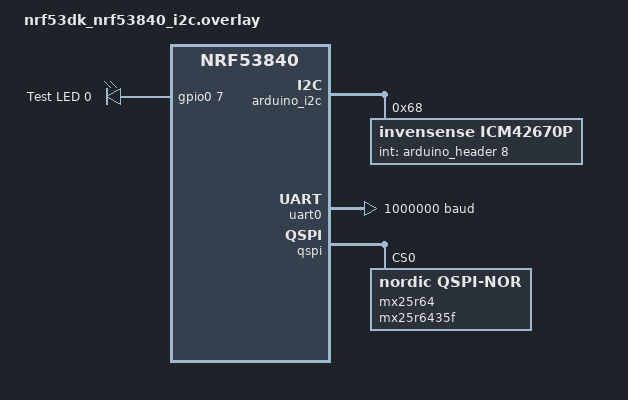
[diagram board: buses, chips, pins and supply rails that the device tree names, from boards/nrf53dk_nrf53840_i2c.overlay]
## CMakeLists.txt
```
#
# Copyright (c) 2024 TDK Invensense
#
# SPDX-License-Identifier: Apache-2.0
#

cmake_minimum_required(VERSION 3.20.0)

find_package(Zephyr REQUIRED HINTS $ENV{ZEPHYR_BASE})
project(6dof_motion_drdy)

FILE(GLOB app_sources src/*.c)
target_sources(app PRIVATE ${app_sources} gaf/release/lib/libInvnAlgoGAFOpen.a.obj)

set(gaf_src_dir   ${CMAKE_CURRENT_SOURCE_DIR}/gaf)
set(GAF_LIB_DIR     ${gaf_src_dir}/release/lib)
set(GAF_INCLUDE_DIR ${gaf_src_dir}/include)

target_include_directories(app PUBLIC ${GAF_INCLUDE_DIR})

# Relocate library code
zephyr_code_relocate(FILES src/invn_algo.c LOCATION EXTFLASH_TEXT NOCOPY)
zephyr_code_relocate(FILES src/invn_algo.c LOCATION RAM_DATA)

zephyr_code_relocate(FILES gaf/release/lib/libInvnAlgoGAFOpen.a.obj LOCATION EXTFLASH_TEXT NOCOPY)
zephyr_code_relocate(FILES gaf/release/lib/libInvnAlgoGAFOpen.a.obj LOCATION RAM_DATA)
```

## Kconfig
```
# Copyright (c) 2024, TDK Invensense
# SPDX-License-Identifier: Apache-2.0

# Sensor: ICM42670-P TDK 6-axis motion device
choice ICM_VARIANT
	default ICM42670P
endchoice

# Enable trigger to get sensor data
config ICM42X7X_TRIGGER
	default y

choice ICM42X7X_TRIGGER_MODE
	default ICM42X7X_TRIGGER_OWN_THREAD
endchoice

source "Kconfig.zephyr"
```

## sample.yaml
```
sample:
  name: 6DOF Motion dataready sample
tests:
  sample.sensor.6dof_motion_drdy:
    build_only: true
    tags: sensors
    integration_platforms:
      - nrf52dk/nrf52832
```

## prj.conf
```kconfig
#
# Copyright (c) 2024 TDK Invensense
#
# SPDX-License-Identifier: Apache-2.0
#

CONFIG_SENSOR=y
CONFIG_LOG=y
CONFIG_SENSOR_LOG_LEVEL_DBG=n

# Floating point format support
# Selecting this increases stack size requirements slightly, but increases code size significantly.
CONFIG_CBPRINTF_FP_SUPPORT=y

# nrf52dk/nrf52832 specific
CONFIG_USE_SEGGER_RTT=n

# Trigger mode: sample is using interrupt triggering
CONFIG_ICM42X70_TRIGGER_OWN_THREAD=y

CONFIG_FPU=y
CONFIG_FP_HARDABI=y
CONFIG_ICM42X70_THREAD_STACK_SIZE=8192
CONFIG_MAIN_STACK_SIZE=8192

CONFIG_CODE_DATA_RELOCATION=y
#CONFIG_XIP=y
# Need this when storage is on MX25R64
CONFIG_FLASH=y
CONFIG_NORDIC_QSPI_NOR=y
CONFIG_NORDIC_QSPI_NOR_FLASH_LAYOUT_PAGE_SIZE=4096
CONFIG_HAVE_CUSTOM_LINKER_SCRIPT=y
CONFIG_CUSTOM_LINKER_SCRIPT="app.ld"

CONFIG_NORDIC_QSPI_NOR_XIP=y


#CONFIG_NRF_ENABLE_CACHE=y
CONFIG_GPIO=y
```

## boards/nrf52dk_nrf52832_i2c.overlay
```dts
/*
 * Copyright (c) 2024, TDK Invensense
 *
 * SPDX-License-Identifier: Apache-2.0
 */

/*
 * Get a node identifier for 6-axis IMU sensor.
 */
/ {
	aliases {
		6dof-motion-drdy0 = &icm42670;
	};
};

/*
 * Example configuration of a ICM42670 device on i2c0 compatible with an Arduino I2C bus.
 *
 * Device address 0x68 is assumed. Your device may have a different
 * address; check your device documentation if unsure.
 *
 * Configure 100Hz IMU data reporting
 */
&arduino_i2c {
	status = "okay";
	icm42670: icm42670@68 {
		compatible = "invensense,icm42670";
		reg = <0x68>;
		int-gpios = <&arduino_header 8 GPIO_ACTIVE_HIGH>; /* D2 */
		accel-hz = <100>;
		gyro-hz = <100>;
		accel-fs = <16>;
		gyro-fs = <2000>;
	};
};

/*
 * Increase native UART speed to report all IMU data at 100Hz.
 */
&uart0 {
	compatible = "nordic,nrf-uarte";
	status = "okay";
	current-speed = <1000000>;
};
```

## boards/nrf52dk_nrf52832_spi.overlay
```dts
/*
 * Copyright (c) 2024, TDK Invensense
 *
 * SPDX-License-Identifier: Apache-2.0
 */

/*
 * Get a node identifier for 6-axis IMU sensor.
 */
/ {
	aliases {
		6dof-motion-drdy0 = &icm42670p;
	};
};

/* Example configuration of a ICM42670-P device on spi2 compatible with an Arduino SPI bus.
 *
 * Configure 100Hz IMU data reporting
 */
&arduino_spi {
	status = "okay";
	cs-gpios = <&arduino_header 14 GPIO_ACTIVE_LOW>; /* D8 */
	icm42670p: icm42670p@0 {
		compatible = "invensense,icm42670p";
		reg = <0>;
		spi-max-frequency = <1000000>; /* conservatively set to 1MHz */
		int-gpios = <&arduino_header 8 GPIO_ACTIVE_HIGH>; /* D2 */
		accel-hz = <100>;
		gyro-hz = <100>;
		accel-fs = <16>;
		gyro-fs = <2000>;
	};
};

/*
 * Disable spi1 has it is connected to the same node than arduino_spi on Arduino Shield
 */
&spi1 {
	status = "disabled";
};

/*
 * Increase native UART speed to report all IMU data at 100Hz.
 */
&uart0 {
	compatible = "nordic,nrf-uarte";
	current-speed = <1000000>;
};
```

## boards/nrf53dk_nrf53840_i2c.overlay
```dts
/*
 * Copyright (c) 2024, TDK Invensense
 *
 * SPDX-License-Identifier: Apache-2.0
 */

/*
 * Get a node identifier for 6-axis IMU sensor.
 */
/ {
	aliases {
		6dof-motion-drdy0 = &icm42670p;
	};
};

/*
 * Example configuration of a ICM42670-P device on i2c0 compatible with an Arduino I2C bus.
 *
 * Device address 0x68 is assumed. Your device may have a different
 * address; check your device documentation if unsure.
 *
 * Configure 100Hz IMU data reporting
 */
&arduino_i2c {
	status = "okay";

	icm42670p: icm42670p@68 {
		compatible = "invensense,icm42670p";
		reg = <0x68>;
		int-gpios = <&arduino_header 8 GPIO_ACTIVE_HIGH>; /* D2 */
		accel-hz = <100>;
		gyro-hz = <100>;
		accel-fs = <16>;
		gyro-fs = <2000>;
	};
};

/*
 * Increase native UART speed to report all IMU data at 100Hz.
 */
&uart0 {
	compatible = "nordic,nrf-uarte";
	current-speed = <1000000>;
};

/ {
	aliases {
		testled0 = &testled0;
	};

	leds {
		compatible = "gpio-leds";

		testled0: testled_0 {
			gpios = <&gpio0 7 GPIO_ACTIVE_HIGH>;
			label = "Test LED 0";
		};
	};
};

&qspi {
	status = "okay";
	pinctrl-0 = <&qspi_default>;
	pinctrl-1 = <&qspi_sleep>;
	pinctrl-names = "default", "sleep";

	mx25r64: mx25r6435f@0 {
		compatible = "nordic,qspi-nor";
		reg = <0>;
		/* MX25R64 supports only pp and pp4io */
		writeoc = "pp4io";
		/* MX25R64 supports all readoc options */
		readoc = "read4io";
		sck-frequency = <16000000>;
		jedec-id = [c2 28 17];
		sfdp-bfp = [e5 20 f1 ff ff ff ff 03 44 eb 08 6b 08 3b 04 bb
			    ee ff ff ff ff ff 00 ff ff ff 00 ff 0c 20 0f 52
			    10 d8 00 ff 23 72 f5 00 82 ed 04 cc 44 83 68 44
			    30 b0 30 b0 f7 c4 d5 5c 00 be 29 ff f0 d0 ff ff];
		size = <67108864>;
		has-dpd;
		t-enter-dpd = <10000>;
		t-exit-dpd = <35000>;
	};
};
```

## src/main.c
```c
/*
 * Copyright (c) 2024 TDK Invensense
 *
 * SPDX-License-Identifier: Apache-2.0
 */

#include <zephyr/kernel.h>
#include <zephyr/device.h>
#include <zephyr/devicetree.h>
#include <zephyr/drivers/sensor.h>
#include <zephyr/drivers/gpio.h>

#include <stdio.h>

#include "invn_algo.h"

static struct sensor_trigger data_trigger;

uint64_t sample_time=0;

/* Flag set from IMU device irq handler */
static volatile int irq_from_device;

static const struct gpio_dt_spec arduino_header_D0 =
	GPIO_DT_SPEC_GET(DT_ALIAS(testled0), gpios);


/*
 * Get a device structure from a devicetree node from alias
 * "6dof_motion_drdy0".
 */
static const struct device *get_6dof_motion_device(void)
{
	const struct device *const dev = DEVICE_DT_GET(DT_ALIAS(6dof_motion_drdy0));

	if (!device_is_ready(dev)) {
		printk("\nError: Device \"%s\" is not ready; "
		       "check the driver initialization logs for errors.\n",
		       dev->name);
		return NULL;
	}

	printk("Found device \"%s\", getting sensor data\n", dev->name);
	return dev;
}

static const char *now_str(void)
{
	static char buf[16]; /* ...HH:MM:SS.MMM */
	uint32_t now = k_uptime_get_32();
	unsigned int ms = now % MSEC_PER_SEC;
	unsigned int s;
	unsigned int min;
	unsigned int h;

	now /= MSEC_PER_SEC;
	s = now % 60U;
	now /= 60U;
	min = now % 60U;
	now /= 60U;
	h = now;

	snprintf(buf, sizeof(buf), "%u:%02u:%02u.%03u", h, min, s, ms);
	return buf;
}

static void handle_6dof_motion_drdy(const struct device *dev, const struct sensor_trigger *trig)
{
	if (trig->type == SENSOR_TRIG_DATA_READY) {
		int rc = sensor_sample_fetch_chan(dev, trig->chan);

		if (rc < 0) {
			printf("sample fetch failed: %d\n", rc);
			printf("cancelling trigger due to failure: %d\n", rc);
			(void)sensor_trigger_set(dev, trig, NULL);
			return;
		} else if (rc == 0) {
			irq_from_device = 1;
			sample_time = (k_uptime_ticks()*1000000)/CONFIG_SYS_CLOCK_TICKS_PER_SEC;			
		}
	}
}

int main(void)
{
	const struct device *dev = get_6dof_motion_device();
	struct sensor_value accel[3];
	struct sensor_value gyro[3];
	struct sensor_value temperature;
	
    int16_t acc_raw[3];
    int16_t gyr_raw[3];
    int16_t mag_raw[3];
    uint8_t accurracy[3];
    float quat[4];
	
	int err;

	err = gpio_pin_configure_dt(&arduino_header_D0, GPIO_OUTPUT_INACTIVE);
	//gpio_pin_configure()
	if (err != 0) {
		printf("Configuring GPIO pin failed: %d\n", err);
		return 0;
	}
	
	err = gpio_pin_set_dt(&arduino_header_D0, 0);
	if (err != 0) {
		printf("Setting GPIO pin level failed: %d\n", err);
	}

	struct sensor_value sample_rate;
	if (dev == NULL) {
		return 0;
	}

	data_trigger = (struct sensor_trigger){
		.type = SENSOR_TRIG_DATA_READY,
		.chan = SENSOR_CHAN_ALL,
	};
	if (sensor_trigger_set(dev, &data_trigger, handle_6dof_motion_drdy) < 0) {
		printf("Cannot configure data trigger!!!\n");
		return 0;
	}
	sample_rate.val1 = 25;
    sensor_attr_set(dev, SENSOR_CHAN_ACCEL_XYZ, SENSOR_ATTR_SAMPLING_FREQUENCY, &sample_rate);
    sensor_attr_set(dev, SENSOR_CHAN_GYRO_XYZ, SENSOR_ATTR_SAMPLING_FREQUENCY, &sample_rate);
	invn_algo_init(10);

	k_sleep(K_MSEC(1000));

	while (1) {

		if (irq_from_device) {
			sensor_channel_get(dev, SENSOR_CHAN_ACCEL_XYZ, accel);
			sensor_channel_get(dev, SENSOR_CHAN_GYRO_XYZ, gyro);
			sensor_channel_get(dev, SENSOR_CHAN_DIE_TEMP, &temperature);

			irq_from_device = 0;
            acc_raw[0] = -(int16_t) ((sensor_value_to_double(&accel[0])*32768/8)/9.80665);
            acc_raw[1] = -(int16_t) ((sensor_value_to_double(&accel[2])*32768/8)/9.80665);
            acc_raw[2] = -(int16_t) ((sensor_value_to_double(&accel[1])*32768/8)/9.80665);
            gyr_raw[0] = -(int16_t) ((sensor_value_to_double(&gyro[0])*32768*180/2000)/3.14159);
            gyr_raw[1] = -(int16_t) ((sensor_value_to_double(&gyro[2])*32768*180/2000)/3.14159);
            gyr_raw[2] = -(int16_t) ((sensor_value_to_double(&gyro[1])*32768*180/2000)/3.14159);
            mag_raw[0] = (int16_t) 0;//(mag_temp_data.x*32768/2000);
            mag_raw[1] = -(int16_t) 0;//(mag_temp_data.z*32768/2000);
            mag_raw[2] = (int16_t) 0;//(mag_temp_data.y*32768/2000);
            gpio_pin_set_dt(&arduino_header_D0, 1);
            invn_algo_process((int64_t) sample_time, acc_raw, gyr_raw, mag_raw, quat, accurracy);
            gpio_pin_set_dt(&arduino_header_D0, 0);
			printf("%lld: temp %.2f Cel "
			       "  accel %f %f %f m/s/s "
			       "  gyro  %f %f %f rad/s\n"
			       "  quat  %f %f %f %f\n",
			       sample_time, sensor_value_to_double(&temperature),
			       sensor_value_to_double(&accel[0]), sensor_value_to_double(&accel[1]),
			       sensor_value_to_double(&accel[2]), sensor_value_to_double(&gyro[0]),
			       sensor_value_to_double(&gyro[1]), sensor_value_to_double(&gyro[2]),
			       (double) quat[0], (double) quat[1],(double) quat[2],(double) quat[3]);
		}
	}
	return 0;
}
```

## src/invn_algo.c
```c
#include <zephyr/kernel.h>
#include <zephyr/logging/log.h>
#include <zephyr/devicetree.h>
#include <zephyr/drivers/sensor.h>


#include "invn_algo_gaf.h"
#include <math.h>

LOG_MODULE_REGISTER(invn_algo, LOG_LEVEL_DBG);

static invn_algo_gaf_struct invn_algo_gaf;
invn_algo_gaf_input algo_gaf_input;
invn_algo_gaf_output algo_gaf_output;


int invn_algo_init(int odr_hz)
{
    invn_algo_gaf_config algo_gaf_config;
    int32_t odr_us = 1000000/odr_hz;
    int32_t gaf_sensor_odr_us[3] = {odr_us, odr_us, odr_us};

    invn_algo_gaf_generate_config(&algo_gaf_config, gaf_sensor_odr_us);
    algo_gaf_config.acc_fsr = 8;
    algo_gaf_config.gyr_fsr = 2000;
    algo_gaf_config.mag_sc_q16 = 2000*65536/32768; // +/-2000µT FSR over 16 bits
    algo_gaf_config.acc_pdr_us = odr_us;
    algo_gaf_config.acc_pdr_us = odr_us;
    algo_gaf_config.acc_pdr_us = odr_us;
    algo_gaf_config.acc_odr_us = odr_us;
    algo_gaf_config.gyr_odr_us = odr_us;
    algo_gaf_config.mag_odr_us = odr_us;
    algo_gaf_config.raw_data_format_flag = 0;
    algo_gaf_config.enable_acc_bias_flag = 1;
    algo_gaf_config.enable_gyr_bias_flag = 2;
    algo_gaf_config.enable_mag_bias_flag = 2;
    int8_t AlgoStatus = invn_algo_gaf_init(&invn_algo_gaf, NULL, &algo_gaf_config);
    LOG_ERR("gaf Init Status=%d",AlgoStatus);
    return AlgoStatus;
}

int invn_algo_set_odr(int odr_hz)
{
    invn_algo_gaf_odr_config gaf_odr_config;
    int32_t odr_us = 1000000/odr_hz;

    gaf_odr_config.acc_odr_us = odr_us;
    gaf_odr_config.gyr_odr_us = odr_us;
    gaf_odr_config.mag_odr_us = odr_us;
    gaf_odr_config.acc_pdr_us = odr_us;
    gaf_odr_config.gyr_pdr_us = odr_us;
    gaf_odr_config.mag_pdr_us = odr_us;
    invn_algo_gaf_set_odr(&invn_algo_gaf, &gaf_odr_config);
    return 0;
}

static void fixedpoint_to_float(const int32_t *in, float *out, const uint8_t fxp_shift,
                                const uint8_t dim)
{
    int   i;
    float scale = 1.f / (1 << fxp_shift);

    for (i = 0; i < dim; i++)
        out[i] = scale * in[i];
}

int invn_algo_process(int64_t time_us, int16_t * acc_raw, int16_t * gyr_raw, int16_t * mag_raw, float * quat, uint8_t * accuracy)
{
    invn_algo_gaf_input algo_gaf_input;
    invn_algo_gaf_output algo_gaf_output;
    algo_gaf_input.sRacc_data[0] = acc_raw[0];
    algo_gaf_input.sRacc_data[1] = acc_raw[1];
    algo_gaf_input.sRacc_data[2] = acc_raw[2];
    algo_gaf_input.sRgyr_data[0] = gyr_raw[0];
    algo_gaf_input.sRgyr_data[1] = gyr_raw[1];
    algo_gaf_input.sRgyr_data[2] = gyr_raw[2];
    algo_gaf_input.sRmag_data[0] = mag_raw[0];
    algo_gaf_input.sRmag_data[1] = mag_raw[1];
    algo_gaf_input.sRmag_data[2] = mag_raw[2];
    algo_gaf_input.sRimu_time_us = time_us;
    algo_gaf_input.sRtemp_data = 0;
    algo_gaf_input.mask = INVN_ALGO_GAF_INPUT_MASK_ACC | INVN_ALGO_GAF_INPUT_MASK_GYR | INVN_ALGO_GAF_INPUT_MASK_MAG;
    invn_algo_gaf_process(&invn_algo_gaf, &algo_gaf_input, &algo_gaf_output);
    if (algo_gaf_output.mask & INVN_ALGO_GAF_OUTPUT_MASK_QUAT_AGM)
    {
        fixedpoint_to_float(algo_gaf_output.rv_quat_q30, quat, 30, 4);
        accuracy[0] = algo_gaf_output.acc_accuracy_flag;
        accuracy[1] = algo_gaf_output.gyr_accuracy_flag;
        accuracy[2] = algo_gaf_output.mag_accuracy_flag;
    }
    return 0;
}
```

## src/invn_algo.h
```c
#ifndef INVN_ALGO_H_
#define INVN_ALGO_H_

// -------------------------------------------------

#include <stdbool.h>

// -------------------------------------------------


int invn_algo_init(int odr_hz);
int invn_algo_set_odr(int odr_hz);

int invn_algo_process(int64_t time_us, int16_t * acc_raw, int16_t * gyr_raw, int16_t * mag_raw, float * quat, uint8_t * accuracy);


#endif // INVN_ALGO_H_
```
